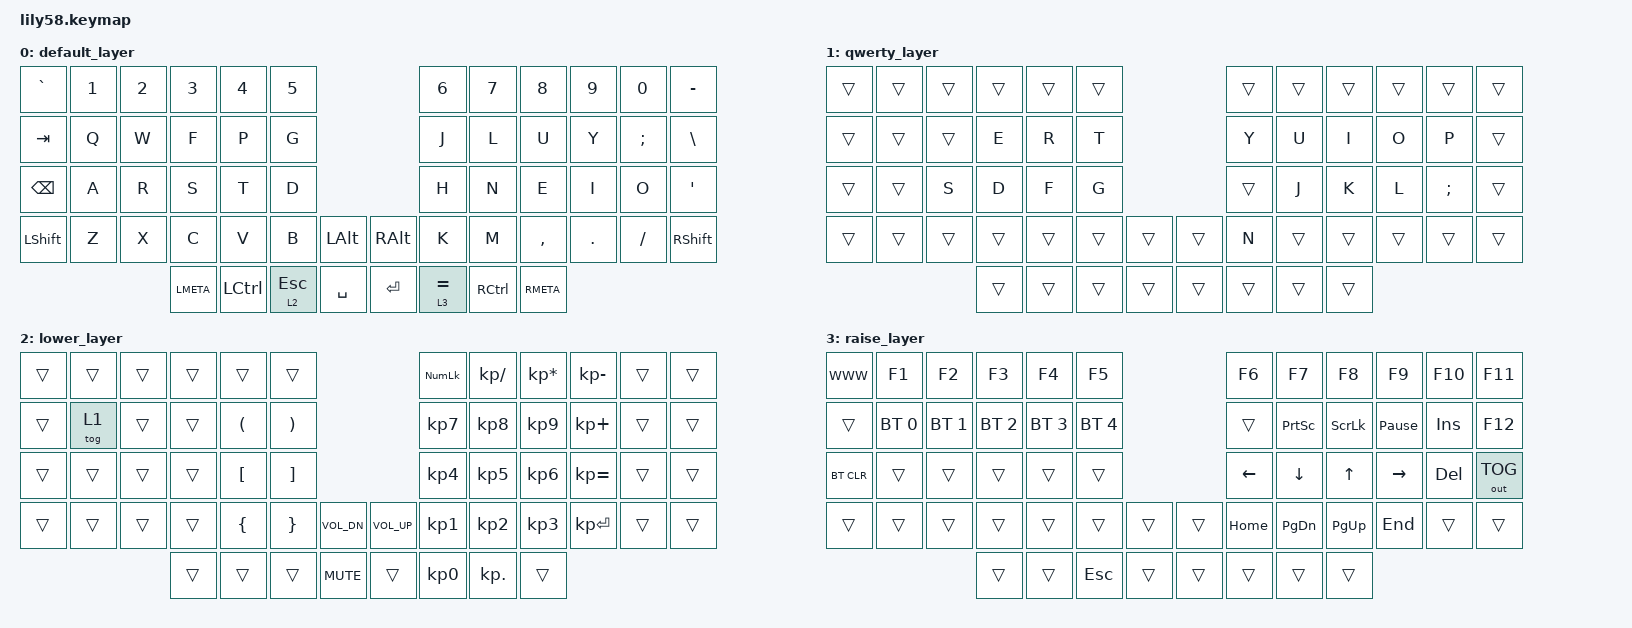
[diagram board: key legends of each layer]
/*
 * Copyright (c) 2020 The ZMK Contributors
 *
 * SPDX-License-Identifier: MIT
 */

#include <behaviors.dtsi>
#include <dt-bindings/zmk/bt.h>
#include <dt-bindings/zmk/keys.h>
#include <dt-bindings/zmk/outputs.h>

&lt {
    flavor = "hold-preferred";
};

/ {
    keymap {
        compatible = "zmk,keymap";

        default_layer {
// ------------------------------------------------------------------------------------------------------
// |   `   |  1  |  2  |  3   |  4   |  5   |                  |  6   |  7   |  8   |  9  |  0  |   -   |
// |  TAB  |  Q  |  W  |  F   |  P   |  G   |                  |  J   |  L   |  U   |  Y  |  :  |   \   |
// | BKSPC |  A  |  R  |  S   |  T   |  D   |                  |  H   |  N   |  E   |  I  |  O  |   '   |
// | SHIFT |  Z  |  X  |  C   |  V   |  B   |  ALT  |  |  ALT  |  K   |  M   |  ,   |  .  |  /  | SHIFT |
//                     | META | CTRL |ESC/LO| SPACE |  | ENTER | =/RA | CTRL | META |
            bindings = <
&kp GRAVE &kp N1 &kp N2 &kp N3    &kp N4    &kp N5                       &kp N6      &kp N7    &kp N8    &kp N9  &kp N0   &kp MINUS
&kp TAB   &kp Q  &kp W  &kp F     &kp P     &kp G                        &kp J       &kp L     &kp U     &kp Y   &kp SEMI &kp BSLH
&kp BSPC  &kp A  &kp R  &kp S     &kp T     &kp D                        &kp H       &kp N     &kp E     &kp I   &kp O    &kp SQT
&kp LSHFT &kp Z  &kp X  &kp C     &kp V     &kp B     &kp LALT  &kp RALT &kp K       &kp M     &kp COMMA &kp DOT &kp FSLH &kp RSHFT
                        &kp LMETA &kp LCTRL &lt 2 ESC &kp SPACE &kp RET  &lt 3 EQUAL &kp RCTRL &kp RMETA
            >;
        };

        qwerty_layer {
// ------------------------------------------------------------------------------------------------------
// |       |     |     |      |      |      |                  |      |      |      |     |     |       |
// |       |     |     |  E   |  R   |  T   |                  |  Y   |  U   |  I   |  O  |  P  |       |
// |       |     |  S  |  D   |  F   |  G   |                  |      |  J   |  K   |  L  |  ;  |       |
// |       |     |     |      |      |      |       |  |       |  N   |      |      |     |     |       |
//                     |      |      |      |       |  |       |      |      |      |
            bindings = <
&trans &trans &trans &trans &trans &trans               &trans &trans &trans &trans &trans   &trans
&trans &trans &trans &kp E  &kp R  &kp T                &kp Y  &kp U  &kp I  &kp O  &kp P    &trans
&trans &trans &kp S  &kp D  &kp F  &kp G                &trans &kp J  &kp K  &kp L  &kp SEMI &trans
&trans &trans &trans &trans &trans &trans &trans &trans &kp N  &trans &trans &trans &trans   &trans
                     &trans &trans &trans &trans &trans &trans &trans &trans
            >;
        };

        lower_layer {
// ------------------------------------------------------------------------------------------------------
// |      |      |     |      |      |      |                  | NUM  |  /   |  *   |  -  |     |       |
// |      |QWERTY|     |      |  (   |   )  |                  |  7   |  8   |  9   |  +  |     |       |
// |      |      |     |      |  [   |   ]  |                  |  4   |  5   |  6   |  =  |     |       |
// |      |      |     |      |  {   |   }  | VOL-  |  | VOL+  |  1   |  2   |  3   |ENTER|     |       |
//                     |      |      |      | MUTE  |  |       |  0   |  .   |      |
            bindings = <
&trans &trans &trans &trans &trans   &trans                             &kp KP_NUM &kp KP_SLASH &kp KP_ASTERISK &kp KP_MINUS &trans &trans
&trans &tog 1 &trans &trans &kp LPAR &kp RPAR                           &kp KP_N7  &kp KP_N8    &kp KP_N9       &kp KP_PLUS  &trans &trans
&trans &trans &trans &trans &kp LBKT &kp RBKT                           &kp KP_N4  &kp KP_N5    &kp KP_N6       &kp KP_EQUAL &trans &trans
&trans &trans &trans &trans &kp LBRC &kp RBRC &kp C_VOL_DN &kp C_VOL_UP &kp KP_N1  &kp KP_N2    &kp KP_N3       &kp KP_ENTER &trans &trans
                     &trans &trans   &trans   &kp C_MUTE   &trans       &kp KP_N0  &kp KP_DOT   &trans
            >;
        };

        raise_layer {
// ------------------------------------------------------------------------------------------------------
// | WWW  |  F1  |  F2 |  F3  |  F4   |  F5 |                  |  F6  |  F7  |  F8  | F9  | F10 |  F11  |
// |      | BT1  | BT2 |  BT3 |  BT4  | BT5 |                  |      | PSCRN| SLCK |PAUSE| INS |  F12  |
// |BTCLR |      |     |      |       |     |                  |   <- |  v   |   ^  | ->  | DEL |OUT_TO |
// |      |      |     |      |       |     |       | |        | HOME | PGDN | PGUP |END  |     |       |
//                     |      |       | ESC |       | |        |      |      |      | 
            bindings = <
&kp K_WWW  &kp F1       &kp F2       &kp F3       &kp F4       &kp F5                    &kp F6    &kp F7    &kp F8    &kp F9          &kp F10 &kp F11
&trans     &bt BT_SEL 0 &bt BT_SEL 1 &bt BT_SEL 2 &bt BT_SEL 3 &bt BT_SEL 4              &trans    &kp PSCRN &kp SLCK  &kp PAUSE_BREAK &kp INS &kp F12
&bt BT_CLR &trans       &trans       &trans       &trans       &trans                    &kp LEFT  &kp DOWN  &kp UP    &kp RIGHT       &kp DEL &out OUT_TOG
&trans     &trans       &trans       &trans       &trans       &trans      &trans &trans &kp HOME  &kp PG_DN &kp PG_UP &kp END         &trans  &trans
                                     &trans       &trans       &kp ESC     &trans &trans &trans    &trans    &trans
            >;
        };
    };
};
